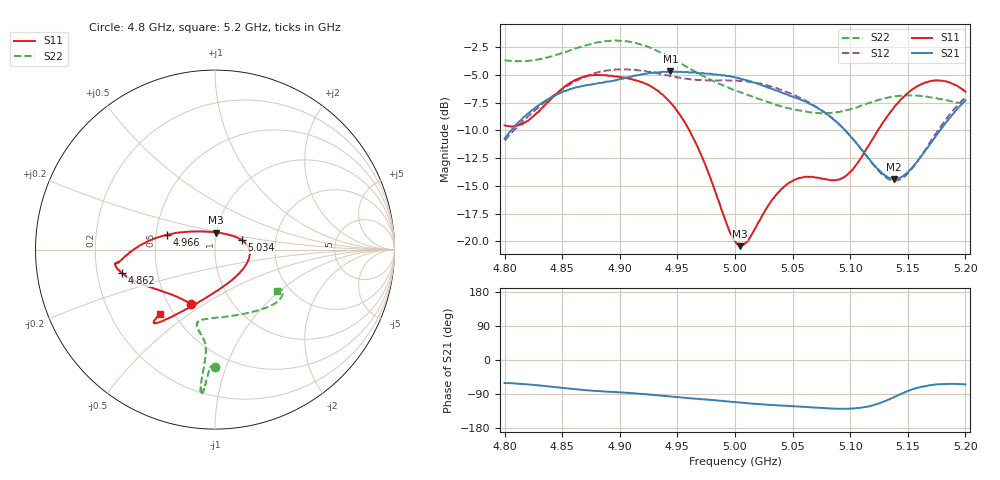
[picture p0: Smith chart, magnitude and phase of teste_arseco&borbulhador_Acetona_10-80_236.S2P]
! Network Analyzer HP8722D
! Hewlett-Packard
! Data name: Linha & Wilkinson
! Saver's name: Rodrigo Anjos
! Comments: Teste da utilização de aquisição
! continua pelo VNA HP8722D
! Time and date: 17/4/2025 16:19
!  Frequency  S11  S21  S12  S22
# HZ  S  MA R 50
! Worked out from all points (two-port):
!   401 points, 4.8 GHz to 5.2 GHz, reference 50 ohm
!   highest |S21| = -4.68 dB at 4.944 GHz (marker M1); lowest = -14.4 dB at 5.138 GHz (marker M2)
!   |S21| within 3 dB of the highest: 4.83 GHz to 5.066 GHz (236.1 MHz wide, 4.77 % of centre); 5.196297 GHz to end of sweep
!   lowest |S11| = -20.4 dB at 5.004 GHz (marker M3), VSWR 1.21, Z = 49.7 + j9.52 ohm
!   |S11| at or under -10 dB: 4.96 GHz to 5.124 GHz (163.6 MHz wide, 3.24 % of centre)
!   |S22| runs from -8.5 to -1.9 dB; largest |S21 - S12| = 0.87
!   S11 on the Smith chart (normalised r, x): 4.8 GHz: 0.65, -0.44; 4.862 GHz: 0.31, -0.11; 4.966 GHz: 0.57, +0.10; 5.034 GHz: 1.34, +0.15; 5.2 GHz: 0.42, -0.39
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4.8e9  0.3334 -113.5  0.2909 -60.9  0.2852 -175.0  0.6566 -90.0
4.819e9  0.3477 -133.5  0.3723 -64.1  0.3601 -173.7  0.6507 -91.7
4.862e9  0.5356 -165.9  0.4941 -77.3  0.5295 -177.0  0.7418 -94.0
4.867e9  0.5481 -167.9  0.5013 -78.6  0.5452 -177.9  0.7562 -94.2
4.903e9  0.5478 -172.4  0.5423 -85.8  0.5965 174.9  0.8009 -95.6
4.934e9  0.4737 -178.3  0.578 -93.6  0.5714 171.7  0.7154 -95.8
4.944e9  0.4223 177.2  0.5833 -96.5  0.5568 171.9  0.6735 -95.5
4.966e9  0.2776 162.5  0.5766 -102.0  0.535 173.8  0.5798 -95.0
5e9  0.1003 100.5  0.5484 -111.1  0.5319 176.2  0.4804 -99.0
5.004e9  0.09515 86.4  0.5426 -112.2  0.5288 176.1  0.4721 -100.0
5.012e9  0.1021 59.6  0.5276 -114.5  0.5232 175.8  0.455 -101.8
5.034e9  0.1576 19.9  0.4809 -119.3  0.4944 174.8  0.4158 -103.5
5.05e9  0.1871 3.7  0.4495 -122.0  0.4586 174.1  0.3947 -99.6
5.067e9  0.1954 -14.6  0.4113 -125.0  0.4153 173.6  0.3806 -90.6
5.085e9  0.1889 -42.8  0.3567 -128.3  0.3564 173.6  0.3812 -77.0
5.097e9  0.1986 -67.2  0.3107 -128.7  0.3113 174.7  0.39 -67.2
5.134e9  0.3773 -116.8  0.1933 -103.7  0.19 -156.7  0.4464 -43.0
5.138e9  0.4017 -119.1  0.1911 -98.0  0.1882 -150.3  0.4493 -41.2
5.151e9  0.4711 -124.8  0.2077 -81.0  0.2054 -130.4  0.4555 -36.4
5.17e9  0.5283 -129.0  0.2775 -66.2  0.2828 -112.3  0.4459 -32.1
5.184e9  0.5244 -130.4  0.3479 -63.0  0.36 -107.3  0.432 -31.1
5.2e9  0.4727 -130.7  0.4323 -64.6  0.4446 -106.5  0.4154 -33.4
